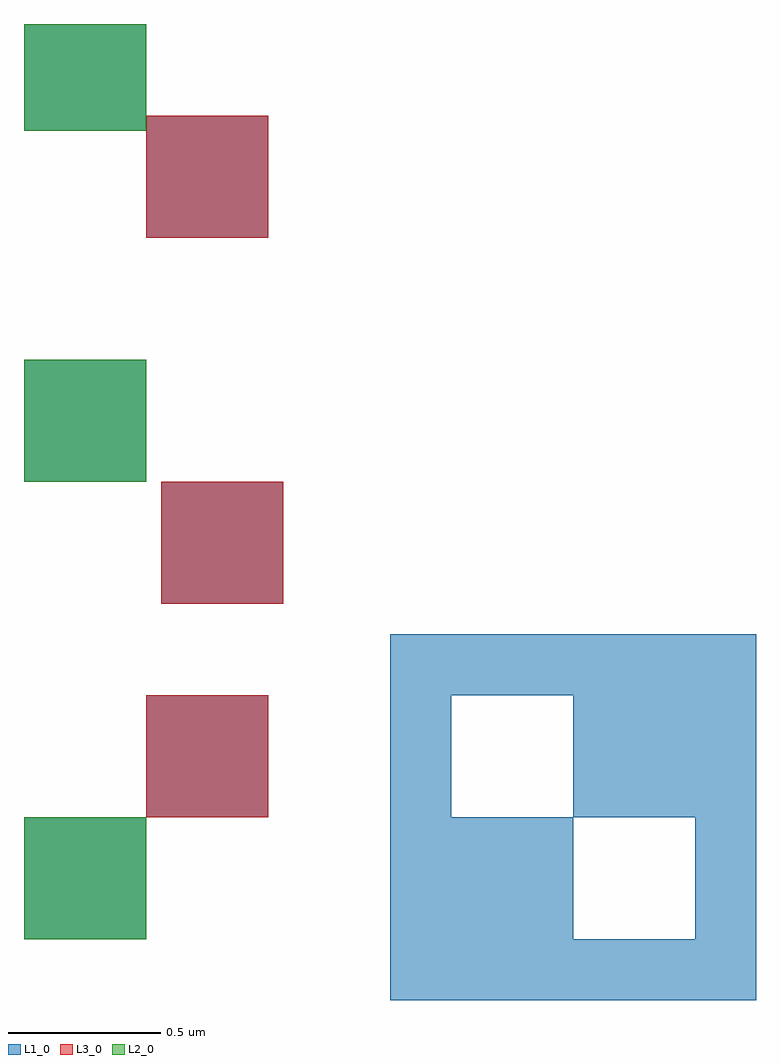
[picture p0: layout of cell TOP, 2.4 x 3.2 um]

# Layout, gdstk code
import gdstk
lib = gdstk.Library(unit=1e-6, precision=1e-09)
def R(c, l, rs):  # rectangles x0, y0, x1, y1
    for r in rs: c.add(gdstk.rectangle(r[:2], r[2:], *l))
def P(c, l, *ps):  # polygons
    for p in ps: c.add(gdstk.Polygon(p, *l))
L1_0 = (1, 0)
L2_0 = (2, 0)
L3_0 = (3, 0)

top = lib.new_cell('TOP')
R(top, L1_0, [(-0.4,-0.4,0,0), (0,0,0.4,0.4), (0.05,0.7,0.45,1.1), (-0.4,1.1,0,1.5)])
P(top, L1_0, [(0,1.9),(0,2.25),(-0.4,2.25),(-0.4,2.6),(0,2.6),(0,2.3),(0.4,2.3),(0.4,1.9)],
  [(0.8,-0.6),(0.8,0.6),(2,0.6),(2,0.4),(1,0.4),(1,0),(1.4,0),(1.4,-0.4),(1.8,-0.4),(1.8,0),(1.4,0),(1.4,0.4),(2,0.4),(2,-0.6)])
R(top, L2_0, [(-0.4,-0.4,0,0), (-0.4,1.1,0,1.5), (-0.4,2.25,0,2.6)])
R(top, L3_0, [(0,0,0.4,0.4), (0.05,0.7,0.45,1.1), (0,1.9,0.4,2.3)])

lib.write_gds('TOP.gds')
